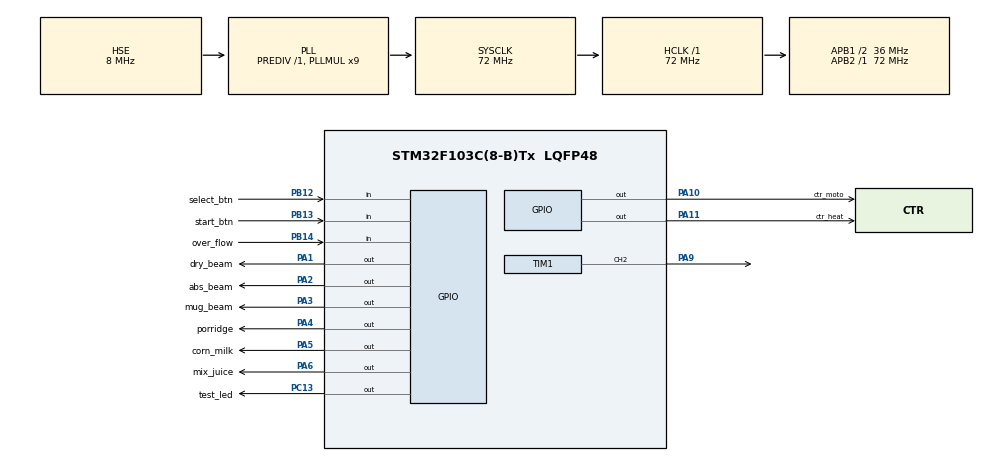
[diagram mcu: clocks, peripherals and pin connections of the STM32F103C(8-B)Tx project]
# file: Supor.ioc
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Mcu.Family=STM32F1
Mcu.Name=STM32F103C(8-B)Tx
Mcu.Package=LQFP48
NVIC.PriorityGroup=NVIC_PRIORITYGROUP_4
NVIC.TIM2_IRQn=true\:0\:0\:false\:false\:true\:true\:true\:true
NVIC.TIM3_IRQn=true\:0\:0\:false\:false\:true\:true\:true\:true
PA1.GPIO_Label=dry_beam
PA1.Signal=GPIO_Output
PA10.GPIO_Label=ctr_moto
PA10.Signal=GPIO_Output
PA11.GPIO_Label=ctr_heat
PA11.Signal=GPIO_Output
PA13.Mode=Serial_Wire
PA13.Signal=SYS_JTMS-SWDIO
PA14.Mode=Serial_Wire
PA14.Signal=SYS_JTCK-SWCLK
PA2.GPIO_Label=abs_beam
PA2.Signal=GPIO_Output
PA3.GPIO_Label=mug_beam
PA3.Signal=GPIO_Output
PA4.GPIO_Label=porridge
PA4.Signal=GPIO_Output
PA5.GPIO_Label=corn_milk
PA5.Signal=GPIO_Output
PA6.GPIO_Label=mix_juice
PA6.Signal=GPIO_Output
PA9.Signal=S_TIM1_CH2
PB12.GPIO_Label=select_btn
PB12.GPIO_PuPd=GPIO_PULLDOWN
PB12.Signal=GPIO_Input
PB13.GPIO_Label=start_btn
PB13.GPIO_PuPd=GPIO_PULLDOWN
PB13.Signal=GPIO_Input
PB14.GPIO_Label=over_flow
PB14.GPIO_PuPd=GPIO_NOPULL
PB14.Signal=GPIO_Input
PC13-TAMPER-RTC.GPIO_Label=test_led
PC13-TAMPER-RTC.PinState=GPIO_PIN_SET
PC13-TAMPER-RTC.Signal=GPIO_Output
PD0-OSC_IN.Mode=HSE-External-Oscillator
PD0-OSC_IN.Signal=RCC_OSC_IN
PD1-OSC_OUT.Mode=HSE-External-Oscillator
PD1-OSC_OUT.Signal=RCC_OSC_OUT
ProjectManager.HeapSize=0x200
ProjectManager.StackSize=0x400
ProjectManager.TargetToolchain=MDK-ARM V5.32
RCC.AHBFreq_Value=72000000
RCC.APB1CLKDivider=RCC_HCLK_DIV2
RCC.APB1Freq_Value=36000000
RCC.APB1TimFreq_Value=72000000
RCC.APB2Freq_Value=72000000
RCC.APB2TimFreq_Value=72000000
RCC.HCLKFreq_Value=72000000
RCC.PLLMUL=RCC_PLL_MUL9
RCC.PLLSourceVirtual=RCC_PLLSOURCE_HSE
RCC.SYSCLKFreq_VALUE=72000000
RCC.SYSCLKSource=RCC_SYSCLKSOURCE_PLLCLK
RCC.USBFreq_Value=72000000
SH.S_TIM1_CH2.0=TIM1_CH2,PWM Generation2 CH2
TIM1.Channel-PWM\ Generation2\ CH2=TIM_CHANNEL_2
TIM1.Period=39999
TIM1.Prescaler=0
TIM2.Period=1999
TIM2.Prescaler=35999
TIM3.Period=1999
TIM3.Prescaler=35999
VP_TIM1_VS_ClockSourceINT.Mode=Internal
VP_TIM2_VS_ClockSourceINT.Mode=Internal
VP_TIM3_VS_ClockSourceINT.Mode=Internal
board=custom

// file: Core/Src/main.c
/* USER CODE BEGIN Header */
/**
  ******************************************************************************
  * @file           : main.c
  * @brief          : Main program body
  ******************************************************************************
  * @attention
  *
  * Copyright (c) 2023 STMicroelectronics.
  * All rights reserved.
  *
  * This software is licensed under terms that can be found in the LICENSE file
  * in the root directory of this software component.
  * If no LICENSE file comes with this software, it is provided AS-IS.
  *
  ******************************************************************************
  */
/* USER CODE END Header */
#include "main.h"

TIM_HandleTypeDef htim1;
TIM_HandleTypeDef htim2;
TIM_HandleTypeDef htim3;

/* USER CODE BEGIN PV */
uint8_t current_index = 0;
uint8_t current_state = 0;
uint8_t beep_playing = 0;
uint8_t is_over_flow = 0;
uint8_t action_step_index = 0;
uint16_t time_counter = 0;
uint8_t step_length = 0;
uint8_t is_cocking = 0;
Action_step* current_list_action_step;
Action_step current_action_step;

Action_step dry_beam_cock_step[] = {
				{.time_stamp = 0, .GPIOx = ctr_heat_GPIO_Port, .GPIO_Pin = ctr_heat_Pin, .state = GPIO_PIN_SET},//start heat
				{.time_stamp = 5, .GPIOx = ctr_moto_GPIO_Port, .GPIO_Pin = ctr_moto_Pin, .state = GPIO_PIN_SET},//start moto
				{.time_stamp = 35, .GPIOx = ctr_moto_GPIO_Port, .GPIO_Pin = ctr_moto_Pin, .state = GPIO_PIN_RESET},//stop moto
				{.time_stamp = 60*14, .GPIOx = ctr_heat_GPIO_Port, .GPIO_Pin = ctr_heat_Pin, .state = GPIO_PIN_RESET},//stop heat
				{.time_stamp = 60*15, .GPIOx = ctr_moto_GPIO_Port, .GPIO_Pin = ctr_moto_Pin, .state = GPIO_PIN_SET},//start moto
				{.time_stamp = 60*15+50, .GPIOx = ctr_moto_GPIO_Port, .GPIO_Pin = ctr_moto_Pin, .state = GPIO_PIN_RESET},//stop moto
				{.time_stamp = 60*17, .GPIOx = ctr_heat_GPIO_Port, .GPIO_Pin = ctr_heat_Pin, .state = GPIO_PIN_SET},//start heat
				{.time_stamp = 60*17+20, .GPIOx = ctr_heat_GPIO_Port, .GPIO_Pin = ctr_heat_Pin, .state = GPIO_PIN_RESET},//stop heat
				{.time_stamp = 60*18, .GPIOx = ctr_moto_GPIO_Port, .GPIO_Pin = ctr_moto_Pin, .state = GPIO_PIN_SET},//start moto
				{.time_stamp = 60*19, .GPIOx = ctr_moto_GPIO_Port, .GPIO_Pin = ctr_moto_Pin, .state = GPIO_PIN_RESET},//stop moto
				{.time_stamp = 60*24, .GPIOx = ctr_heat_GPIO_Port, .GPIO_Pin = ctr_heat_Pin, .state = GPIO_PIN_SET},//start heat
				{.time_stamp = 60*24+20, .GPIOx = ctr_heat_GPIO_Port, .GPIO_Pin = ctr_heat_Pin, .state = GPIO_PIN_RESET},//stop heat
				{.time_stamp = 60*25, .GPIOx = ctr_moto_GPIO_Port, .GPIO_Pin = ctr_moto_Pin, .state = GPIO_PIN_SET},//start moto
				{.time_stamp = 60*25+30, .GPIOx = ctr_moto_GPIO_Port, .GPIO_Pin = ctr_moto_Pin, .state = GPIO_PIN_RESET},//stop moto
				{.time_stamp = 60*27, .GPIOx = ctr_moto_GPIO_Port, .GPIO_Pin = ctr_moto_Pin, .state = GPIO_PIN_SET},//start moto
				{.time_stamp = 60*27+20, .GPIOx = ctr_moto_GPIO_Port, .GPIO_Pin = ctr_moto_Pin, .state = GPIO_PIN_RESET},//stop moto
				{.time_stamp = 60*30, .GPIOx = test_led_GPIO_Port, .GPIO_Pin = test_led_Pin, .state = GPIO_PIN_SET},//finished
			};
/* USER CODE END PV */

void SystemClock_Config(void);
static void MX_GPIO_Init(void);
static void MX_TIM1_Init(void);
static void MX_TIM2_Init(void);
static void MX_TIM3_Init(void);

int main(void)
{

  /* MCU Configuration--------------------------------------------------------*/

  /* Reset of all peripherals, Initializes the Flash interface and the Systick. */
  HAL_Init();

  /* Configure the system clock */
  SystemClock_Config();

  /* Initialize all configured peripherals */
  MX_GPIO_Init();
  MX_TIM1_Init();
  MX_TIM2_Init();
  MX_TIM3_Init();
  /* USER CODE BEGIN 2 */

	//beep timer
	htim1.Instance->CCR2 = 40000 * 30 / 100;
	//HAL_TIM_PWM_Start(&htim1, TIM_CHANNEL_2);

	//blind led
	HAL_TIM_Base_Start_IT(&htim2);
  /* USER CODE END 2 */

  /* Infinite loop */
  /* USER CODE BEGIN WHILE */
	uint8_t select_btn_state = 0;
	uint8_t start_btn_state = 0;

	// first beep
	beep_playing = 1;
	HAL_TIM_PWM_Start(&htim1, TIM_CHANNEL_2);

	//HAL_GPIO_WritePin(test_led_GPIO_Port, test_led_Pin, GPIO_PIN_RESET);
  while (1)
  {

		if(HAL_GPIO_ReadPin(over_flow_GPIO_Port, over_flow_Pin) == GPIO_PIN_RESET){
			HAL_Delay(200);
			if(HAL_GPIO_ReadPin(over_flow_GPIO_Port, over_flow_Pin) == GPIO_PIN_RESET){
				//if over flow stop heat and moto
				HAL_GPIO_WritePin(ctr_heat_GPIO_Port, ctr_heat_Pin, GPIO_PIN_RESET);
				//HAL_GPIO_WritePin(ctr_moto_GPIO_Port, ctr_moto_Pin, GPIO_PIN_RESET);
				is_over_flow = 1;
			}
		}

    /* USER CODE END WHILE */

    /* USER CODE BEGIN 3 */

		if(is_cocking != 0){
			continue;
		}

		if(current_index != 0 && HAL_GPIO_ReadPin(start_btn_GPIO_Port, start_btn_Pin) == GPIO_PIN_SET){
			if(start_btn_state == 0){
				HAL_Delay(200);
				if(HAL_GPIO_ReadPin(start_btn_GPIO_Port, start_btn_Pin) == GPIO_PIN_SET){

					current_list_action_step = get_action_step(current_index);

					start_btn_state = 1;
					current_state = 1;
					blind_led(current_index, current_state);
					HAL_TIM_Base_Stop_IT(&htim2);
					HAL_TIM_Base_Start_IT(&htim2);
					HAL_TIM_PWM_Start(&htim1, TIM_CHANNEL_2);
					beep_playing = 1;

					if(current_list_action_step != NULL){
						action_step_index = 0;
						time_counter = 0;
						current_action_step = current_list_action_step[action_step_index];
						HAL_TIM_Base_Start_IT(&htim3);
						is_cocking = 1;
					}
				}
			}
		} else {
			start_btn_state = 0;
		}

		if(HAL_GPIO_ReadPin(select_btn_GPIO_Port, select_btn_Pin) == GPIO_PIN_SET){
			if(select_btn_state == 0){
				HAL_Delay(200);
				if(HAL_GPIO_ReadPin(select_btn_GPIO_Port, select_btn_Pin) == GPIO_PIN_SET){
					select_btn_state = 1;
					current_index++;
					if(current_index == 7 ) {
					  current_index = 1;
					}
					current_state = 1;
					blind_led(current_index, current_state);
					HAL_TIM_Base_Stop_IT(&htim2);
					HAL_TIM_Base_Start_IT(&htim2);
					HAL_TIM_PWM_Start(&htim1, TIM_CHANNEL_2);
					beep_playing = 1;
				}
			}
		} else {
			select_btn_state = 0;
		}

  }
  /* USER CODE END 3 */
}

void SystemClock_Config(void)
{
  RCC_OscInitTypeDef RCC_OscInitStruct = {0};
  RCC_ClkInitTypeDef RCC_ClkInitStruct = {0};

  /** Initializes the RCC Oscillators according to the specified parameters
  * in the RCC_OscInitTypeDef structure.
  */
  RCC_OscInitStruct.OscillatorType = RCC_OSCILLATORTYPE_HSE;
  RCC_OscInitStruct.HSEState = RCC_HSE_ON;
  RCC_OscInitStruct.HSEPredivValue = RCC_HSE_PREDIV_DIV1;
  RCC_OscInitStruct.HSIState = RCC_HSI_ON;
  RCC_OscInitStruct.PLL.PLLState = RCC_PLL_ON;
  RCC_OscInitStruct.PLL.PLLSource = RCC_PLLSOURCE_HSE;
  RCC_OscInitStruct.PLL.PLLMUL = RCC_PLL_MUL9;
  if (HAL_RCC_OscConfig(&RCC_OscInitStruct) != HAL_OK)
  {
    Error_Handler();
  }

  /** Initializes the CPU, AHB and APB buses clocks
  */
  RCC_ClkInitStruct.ClockType = RCC_CLOCKTYPE_HCLK|RCC_CLOCKTYPE_SYSCLK
                              |RCC_CLOCKTYPE_PCLK1|RCC_CLOCKTYPE_PCLK2;
  RCC_ClkInitStruct.SYSCLKSource = RCC_SYSCLKSOURCE_PLLCLK;
  RCC_ClkInitStruct.AHBCLKDivider = RCC_SYSCLK_DIV1;
  RCC_ClkInitStruct.APB1CLKDivider = RCC_HCLK_DIV2;
  RCC_ClkInitStruct.APB2CLKDivider = RCC_HCLK_DIV1;

  if (HAL_RCC_ClockConfig(&RCC_ClkInitStruct, FLASH_LATENCY_2) != HAL_OK)
  {
    Error_Handler();
  }
}

static void MX_TIM1_Init(void)
{

  TIM_ClockConfigTypeDef sClockSourceConfig = {0};
  TIM_MasterConfigTypeDef sMasterConfig = {0};
  TIM_OC_InitTypeDef sConfigOC = {0};
  TIM_BreakDeadTimeConfigTypeDef sBreakDeadTimeConfig = {0};

  htim1.Instance = TIM1;
  htim1.Init.Prescaler = 0;
  htim1.Init.CounterMode = TIM_COUNTERMODE_UP;
  htim1.Init.Period = 39999;
  htim1.Init.ClockDivision = TIM_CLOCKDIVISION_DIV1;
  htim1.Init.RepetitionCounter = 0;
  htim1.Init.AutoReloadPreload = TIM_AUTORELOAD_PRELOAD_DISABLE;
  if (HAL_TIM_Base_Init(&htim1) != HAL_OK)
  {
    Error_Handler();
  }
  sClockSourceConfig.ClockSource = TIM_CLOCKSOURCE_INTERNAL;
  if (HAL_TIM_ConfigClockSource(&htim1, &sClockSourceConfig) != HAL_OK)
  {
    Error_Handler();
  }
  if (HAL_TIM_PWM_Init(&htim1) != HAL_OK)
  {
    Error_Handler();
  }
  sMasterConfig.MasterOutputTrigger = TIM_TRGO_RESET;
  sMasterConfig.MasterSlaveMode = TIM_MASTERSLAVEMODE_DISABLE;
  if (HAL_TIMEx_MasterConfigSynchronization(&htim1, &sMasterConfig) != HAL_OK)
  {
    Error_Handler();
  }
  sConfigOC.OCMode = TIM_OCMODE_PWM1;
  sConfigOC.Pulse = 0;
  sConfigOC.OCPolarity = TIM_OCPOLARITY_HIGH;
  sConfigOC.OCNPolarity = TIM_OCNPOLARITY_HIGH;
  sConfigOC.OCFastMode = TIM_OCFAST_DISABLE;
  sConfigOC.OCIdleState = TIM_OCIDLESTATE_RESET;
  sConfigOC.OCNIdleState = TIM_OCNIDLESTATE_RESET;
  if (HAL_TIM_PWM_ConfigChannel(&htim1, &sConfigOC, TIM_CHANNEL_2) != HAL_OK)
  {
    Error_Handler();
  }
  sBreakDeadTimeConfig.OffStateRunMode = TIM_OSSR_DISABLE;
  sBreakDeadTimeConfig.OffStateIDLEMode = TIM_OSSI_DISABLE;
  sBreakDeadTimeConfig.LockLevel = TIM_LOCKLEVEL_OFF;
  sBreakDeadTimeConfig.DeadTime = 0;
  sBreakDeadTimeConfig.BreakState = TIM_BREAK_DISABLE;
  sBreakDeadTimeConfig.BreakPolarity = TIM_BREAKPOLARITY_HIGH;
  sBreakDeadTimeConfig.AutomaticOutput = TIM_AUTOMATICOUTPUT_DISABLE;
  if (HAL_TIMEx_ConfigBreakDeadTime(&htim1, &sBreakDeadTimeConfig) != HAL_OK)
  {
    Error_Handler();
  }
  HAL_TIM_MspPostInit(&htim1);

}

static void MX_TIM2_Init(void)
{

  TIM_ClockConfigTypeDef sClockSourceConfig = {0};
  TIM_MasterConfigTypeDef sMasterConfig = {0};

  htim2.Instance = TIM2;
  htim2.Init.Prescaler = 35999;
  htim2.Init.CounterMode = TIM_COUNTERMODE_UP;
  htim2.Init.Period = 1999;
  htim2.Init.ClockDivision = TIM_CLOCKDIVISION_DIV1;
  htim2.Init.AutoReloadPreload = TIM_AUTORELOAD_PRELOAD_DISABLE;
  if (HAL_TIM_Base_Init(&htim2) != HAL_OK)
  {
    Error_Handler();
  }
  sClockSourceConfig.ClockSource = TIM_CLOCKSOURCE_INTERNAL;
  if (HAL_TIM_ConfigClockSource(&htim2, &sClockSourceConfig) != HAL_OK)
  {
    Error_Handler();
  }
  sMasterConfig.MasterOutputTrigger = TIM_TRGO_RESET;
  sMasterConfig.MasterSlaveMode = TIM_MASTERSLAVEMODE_DISABLE;
  if (HAL_TIMEx_MasterConfigSynchronization(&htim2, &sMasterConfig) != HAL_OK)
  {
    Error_Handler();
  }

}

static void MX_TIM3_Init(void)
{

  TIM_ClockConfigTypeDef sClockSourceConfig = {0};
  TIM_MasterConfigTypeDef sMasterConfig = {0};

  htim3.Instance = TIM3;
  htim3.Init.Prescaler = 35999;
  htim3.Init.CounterMode = TIM_COUNTERMODE_UP;
  htim3.Init.Period = 1999;
  htim3.Init.ClockDivision = TIM_CLOCKDIVISION_DIV1;
  htim3.Init.AutoReloadPreload = TIM_AUTORELOAD_PRELOAD_DISABLE;
  if (HAL_TIM_Base_Init(&htim3) != HAL_OK)
  {
    Error_Handler();
  }
  sClockSourceConfig.ClockSource = TIM_CLOCKSOURCE_INTERNAL;
  if (HAL_TIM_ConfigClockSource(&htim3, &sClockSourceConfig) != HAL_OK)
  {
    Error_Handler();
  }
  sMasterConfig.MasterOutputTrigger = TIM_TRGO_RESET;
  sMasterConfig.MasterSlaveMode = TIM_MASTERSLAVEMODE_DISABLE;
  if (HAL_TIMEx_MasterConfigSynchronization(&htim3, &sMasterConfig) != HAL_OK)
  {
    Error_Handler();
  }

}

static void MX_GPIO_Init(void)
{
  GPIO_InitTypeDef GPIO_InitStruct = {0};

  /* GPIO Ports Clock Enable */
  __HAL_RCC_GPIOC_CLK_ENABLE();
  __HAL_RCC_GPIOD_CLK_ENABLE();
  __HAL_RCC_GPIOA_CLK_ENABLE();
  __HAL_RCC_GPIOB_CLK_ENABLE();

  /*Configure GPIO pin Output Level */
  HAL_GPIO_WritePin(test_led_GPIO_Port, test_led_Pin, GPIO_PIN_SET);

  /*Configure GPIO pin Output Level */
  HAL_GPIO_WritePin(GPIOA, dry_beam_Pin|abs_beam_Pin|mug_beam_Pin|porridge_Pin
                          |corn_milk_Pin|mix_juice_Pin|ctr_moto_Pin|ctr_heat_Pin, GPIO_PIN_RESET);

  /*Configure GPIO pin : test_led_Pin */
  GPIO_InitStruct.Pin = test_led_Pin;
  GPIO_InitStruct.Mode = GPIO_MODE_OUTPUT_PP;
  GPIO_InitStruct.Pull = GPIO_NOPULL;
  GPIO_InitStruct.Speed = GPIO_SPEED_FREQ_LOW;
  HAL_GPIO_Init(test_led_GPIO_Port, &GPIO_InitStruct);

  /*Configure GPIO pins : dry_beam_Pin abs_beam_Pin mug_beam_Pin porridge_Pin
                           corn_milk_Pin mix_juice_Pin ctr_moto_Pin ctr_heat_Pin */
  GPIO_InitStruct.Pin = dry_beam_Pin|abs_beam_Pin|mug_beam_Pin|porridge_Pin
                          |corn_milk_Pin|mix_juice_Pin|ctr_moto_Pin|ctr_heat_Pin;
  GPIO_InitStruct.Mode = GPIO_MODE_OUTPUT_PP;
  GPIO_InitStruct.Pull = GPIO_NOPULL;
  GPIO_InitStruct.Speed = GPIO_SPEED_FREQ_LOW;
  HAL_GPIO_Init(GPIOA, &GPIO_InitStruct);

  /*Configure GPIO pins : select_btn_Pin start_btn_Pin */
  GPIO_InitStruct.Pin = select_btn_Pin|start_btn_Pin;
  GPIO_InitStruct.Mode = GPIO_MODE_INPUT;
  GPIO_InitStruct.Pull = GPIO_PULLDOWN;
  HAL_GPIO_Init(GPIOB, &GPIO_InitStruct);

  /*Configure GPIO pin : over_flow_Pin */
  GPIO_InitStruct.Pin = over_flow_Pin;
  GPIO_InitStruct.Mode = GPIO_MODE_INPUT;
  GPIO_InitStruct.Pull = GPIO_NOPULL;
  HAL_GPIO_Init(over_flow_GPIO_Port, &GPIO_InitStruct);

}

/* USER CODE BEGIN 4 */

void HAL_TIM_PeriodElapsedCallback(TIM_HandleTypeDef *htim)
{
	if(htim->Instance == htim2.Instance){
		current_state++;
		current_state%=2;
		blind_led(current_index, current_state);
	} else if(htim->Instance == htim3.Instance){
		time_counter++;
		if(current_action_step.time_stamp <= time_counter){
			//active action
			HAL_GPIO_WritePin(current_action_step.GPIOx, current_action_step.GPIO_Pin, current_action_step.state);
			action_step_index++;
			if(action_step_index < step_length){
				current_action_step = current_list_action_step[action_step_index];
			} else {
				HAL_TIM_Base_Stop_IT(&htim3);
				HAL_TIM_PWM_Start(&htim1, TIM_CHANNEL_2);
				beep_playing = 5;
				HAL_GPIO_WritePin(test_led_GPIO_Port, test_led_Pin, GPIO_PIN_SET);
				current_index = 0;
				is_cocking = 0;
				return;
			}
		}
		HAL_GPIO_TogglePin(test_led_GPIO_Port, test_led_Pin);
	}
}

void blind_led(uint8_t at, uint8_t state) {

	if(beep_playing == 1) {
		beep_playing = 0;
		HAL_TIM_PWM_Stop(&htim1, TIM_CHANNEL_2);
	}
	if(beep_playing > 0){
		beep_playing--;
	}

	GPIO_PinState st = GPIO_PIN_SET;
	if(is_cocking == 0 && state == 0) {
		st = GPIO_PIN_RESET;
	}
	switch(at) {
		case 1:
			HAL_GPIO_WritePin(dry_beam_GPIO_Port, dry_beam_Pin, st);
			HAL_GPIO_WritePin(abs_beam_GPIO_Port, abs_beam_Pin, GPIO_PIN_RESET);
			HAL_GPIO_WritePin(mug_beam_GPIO_Port, mug_beam_Pin, GPIO_PIN_RESET);
			HAL_GPIO_WritePin(porridge_GPIO_Port, porridge_Pin, GPIO_PIN_RESET);
			HAL_GPIO_WritePin(corn_milk_GPIO_Port, corn_milk_Pin, GPIO_PIN_RESET);
			HAL_GPIO_WritePin(mix_juice_GPIO_Port, mix_juice_Pin, GPIO_PIN_RESET);
			break;
		case 2:
			HAL_GPIO_WritePin(dry_beam_GPIO_Port, dry_beam_Pin, GPIO_PIN_RESET);
			HAL_GPIO_WritePin(abs_beam_GPIO_Port, abs_beam_Pin, st);
			HAL_GPIO_WritePin(mug_beam_GPIO_Port, mug_beam_Pin, GPIO_PIN_RESET);
			HAL_GPIO_WritePin(porridge_GPIO_Port, porridge_Pin, GPIO_PIN_RESET);
			HAL_GPIO_WritePin(corn_milk_GPIO_Port, corn_milk_Pin, GPIO_PIN_RESET);
			HAL_GPIO_WritePin(mix_juice_GPIO_Port, mix_juice_Pin, GPIO_PIN_RESET);
			break;
		case 3:
			HAL_GPIO_WritePin(dry_beam_GPIO_Port, dry_beam_Pin, GPIO_PIN_RESET);
			HAL_GPIO_WritePin(abs_beam_GPIO_Port, abs_beam_Pin, GPIO_PIN_RESET);
			HAL_GPIO_WritePin(mug_beam_GPIO_Port, mug_beam_Pin, st);
			HAL_GPIO_WritePin(porridge_GPIO_Port, porridge_Pin, GPIO_PIN_RESET);
			HAL_GPIO_WritePin(corn_milk_GPIO_Port, corn_milk_Pin, GPIO_PIN_RESET);
			HAL_GPIO_WritePin(mix_juice_GPIO_Port, mix_juice_Pin, GPIO_PIN_RESET);
			break;
		case 4:
			HAL_GPIO_WritePin(dry_beam_GPIO_Port, dry_beam_Pin, GPIO_PIN_RESET);
			HAL_GPIO_WritePin(abs_beam_GPIO_Port, abs_beam_Pin, GPIO_PIN_RESET);
			HAL_GPIO_WritePin(mug_beam_GPIO_Port, mug_beam_Pin, GPIO_PIN_RESET);
			HAL_GPIO_WritePin(porridge_GPIO_Port, porridge_Pin, st);
			HAL_GPIO_WritePin(corn_milk_GPIO_Port, corn_milk_Pin, GPIO_PIN_RESET);
			HAL_GPIO_WritePin(mix_juice_GPIO_Port, mix_juice_Pin, GPIO_PIN_RESET);
			break;
		case 5:
			HAL_GPIO_WritePin(dry_beam_GPIO_Port, dry_beam_Pin, GPIO_PIN_RESET);
			HAL_GPIO_WritePin(abs_beam_GPIO_Port, abs_beam_Pin, GPIO_PIN_RESET);
			HAL_GPIO_WritePin(mug_beam_GPIO_Port, mug_beam_Pin, GPIO_PIN_RESET);
			HAL_GPIO_WritePin(porridge_GPIO_Port, porridge_Pin, GPIO_PIN_RESET);
			HAL_GPIO_WritePin(corn_milk_GPIO_Port, corn_milk_Pin, st);
			HAL_GPIO_WritePin(mix_juice_GPIO_Port, mix_juice_Pin, GPIO_PIN_RESET);
			break;
		case 6:
			HAL_GPIO_WritePin(dry_beam_GPIO_Port, dry_beam_Pin, GPIO_PIN_RESET);
			HAL_GPIO_WritePin(abs_beam_GPIO_Port, abs_beam_Pin, GPIO_PIN_RESET);
			HAL_GPIO_WritePin(mug_beam_GPIO_Port, mug_beam_Pin, GPIO_PIN_RESET);
			HAL_GPIO_WritePin(porridge_GPIO_Port, porridge_Pin, GPIO_PIN_RESET);
			HAL_GPIO_WritePin(corn_milk_GPIO_Port, corn_milk_Pin, GPIO_PIN_RESET);
			HAL_GPIO_WritePin(mix_juice_GPIO_Port, mix_juice_Pin, st);
			break;
		default:
			HAL_GPIO_WritePin(dry_beam_GPIO_Port, dry_beam_Pin, st);
			HAL_GPIO_WritePin(abs_beam_GPIO_Port, abs_beam_Pin, st);
			HAL_GPIO_WritePin(mug_beam_GPIO_Port, mug_beam_Pin, st);
			HAL_GPIO_WritePin(porridge_GPIO_Port, porridge_Pin, st);
			HAL_GPIO_WritePin(corn_milk_GPIO_Port, corn_milk_Pin, st);
			HAL_GPIO_WritePin(mix_juice_GPIO_Port, mix_juice_Pin, st);
			break;
	}
}

Action_step* get_action_step(uint8_t at) {
	switch(at) {
		default:
			step_length = sizeof(dry_beam_cock_step) / sizeof(Action_step);
			return dry_beam_cock_step;
	}
}

/* USER CODE END 4 */

void Error_Handler(void)
{
  __disable_irq();
  while (1)
  {
  }
}
